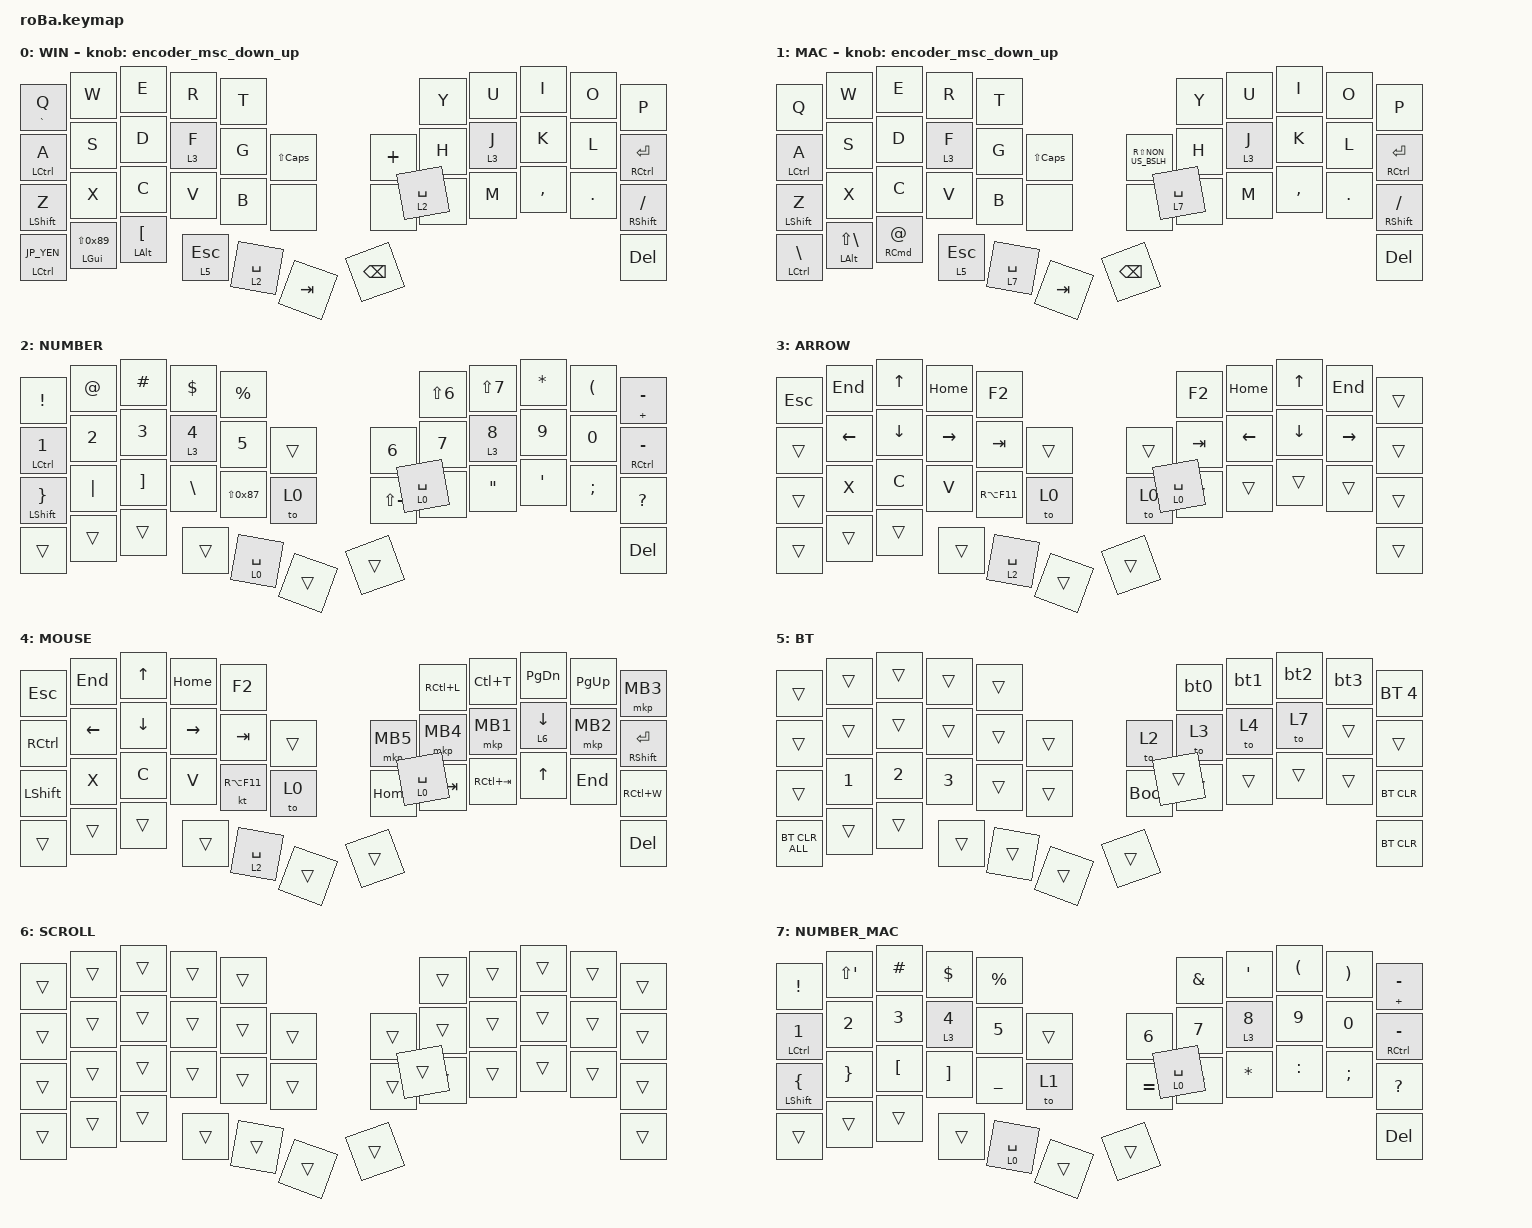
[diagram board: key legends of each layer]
#include <input/processors.dtsi>
#include <dt-bindings/zmk/input_transform.h>
#include <behaviors.dtsi>
#include <dt-bindings/zmk/bt.h>
#include <dt-bindings/zmk/keys.h>
#include <dt-bindings/zmk/pointing.h>

// OS設定を日本語キーボードのまま使用するための変換定義

#define JP_DQUOTE       AT                // "
#define JP_AMPERSAND    CARET             // &
#define JP_QUOTE        AMPERSAND         // '
#define JP_EQUAL        UNDER             // =
#define JP_CARET        EQUAL             // ^
#define JP_YEN          0x89              // ¥
#define JP_PLUS         COLON             // +
#define JP_TILDE        PLUS              // ~
#define JP_PIPE         LS(0x89)          // |
#define JP_AT           LEFT_BRACKET      // @
#define JP_COLON        SINGLE_QUOTE      // :
#define JP_ASTERISK     DOUBLE_QUOTES     // *
#define JP_BACKQUOTE    LEFT_BRACE        // `
#define JP_UNDERSCORE   LS(0x87)          // _
#define JP_LBRACKET     RIGHT_BRACKET     // [
#define JP_RBRACKET     BACKSLASH         // ]
#define JP_LPAREN       ASTERISK          // (
#define JP_RPAREN       LEFT_PARENTHESIS  // )
#define JP_LBRACE       RIGHT_BRACE       // {
#define JP_RBRACE       PIPE              // }
#define JP_KANA         LANGUAGE_1        // かな
#define JP_EISU         LANGUAGE_2        // 英数
#define JP_HANZEN       GRAVE             // 半角/全角

// #includeのあとのあたりにスクロール量変更の定義を追記

#define ZMK_POINTING_DEFAULT_SCRL_VAL 80
#define MOUSE 4

//&trackball {
//    automouse-layer = <4>;
//    scroll-layers = <5>;
// arrows {
//     layers = <3>;
//     bindings =
//         <&kp RIGHT_ARROW>,
//         <&kp LEFT_ARROW>,
//         <&kp UP_ARROW>,
//         <&kp DOWN_ARROW>;
//     tick = <10>;
//     wait-ms = <5>;
//     tap-ms = <5>;
// };
//};

&trackball_listener {
    input-processors = <&zip_temp_layer 4 10000>;

    slow_mouse {
        layers = <3>;
        input-processors = <&zip_xy_scaler 1 3>;
    };

    scroller {
        layers = <6>;
        input-processors = <
                &zip_xy_to_scroll_mapper
                &zip_scroll_scaler 1 20
                &zip_scroll_transform INPUT_TRANSFORM_Y_INVERT
        >;
    };
};

&mkp_input_listener { input-processors = <&zip_temp_layer 4 250>; };

/ {
    combos {
        compatible = "zmk,combos";

        minus {
            bindings = <&kp MINUS>;
            key-positions = <20 19>;
        };

        KANA {
            bindings = <&kp JP_KANA>;
            key-positions = <18 19>;
            layers = <1>;
        };

        EISU {
            bindings = <&kp JP_EISU>;
            key-positions = <13 12>;
            layers = <1>;
        };

        henkan {
            bindings = <&kp INT_HENKAN>;
            key-positions = <18 19>;
            layers = <0 2 3 4>;
        };

        muhenkan {
            bindings = <&kp INT_MUHENKAN>;
            key-positions = <13 12>;
            layers = <0 2 3 4>;
        };
    };

    macros {
        exit_AML: exit_AML {
            compatible = "zmk,behavior-macro";
            wait-ms = <0>;
            tap-ms = <0>;
            #binding-cells = <0>;
            bindings = <&tog_off 4>;
            label = "exit_AML";
        };

        kp_exit_AML: kp_exit_AML {
            compatible = "zmk,behavior-macro-one-param";
            wait-ms = <0>;
            tap-ms = <0>;
            #binding-cells = <1>;
            bindings = <&macro_param_1to1 &kp MACRO_PLACEHOLDER &exit_AML>;
            label = "KP_exit_AML";
        };

        bt0: bt0 {
            compatible = "zmk,behavior-macro";
            #binding-cells = <0>;
            bindings =
                <&tog_off 1>,
                <&macro_wait_time 200>,
                <&bt BT_SEL 0>,
                <&macro_wait_time 500>,
                <&tog_on 1>;

            label = "BT0";
        };

        bt1: bt1 {
            compatible = "zmk,behavior-macro";
            #binding-cells = <0>;
            bindings =
                <&tog_off 1>,
                <&macro_wait_time 200>,
                <&bt BT_SEL 1>,
                <&macro_wait_time 500>,
                <&tog_on 0>;

            label = "BT1";
        };

        bt2: bt2 {
            compatible = "zmk,behavior-macro";
            #binding-cells = <0>;
            bindings =
                <&tog_off 1>,
                <&macro_wait_time 200>,
                <&bt BT_SEL 2>,
                <&macro_wait_time 500>,
                <&tog_on 0>;

            label = "BT2";
        };

        bt3: bt3 {
            compatible = "zmk,behavior-macro";
            #binding-cells = <0>;
            bindings =
                <&tog_off 1>,
                <&macro_wait_time 200>,
                <&bt BT_SEL 3>,
                <&macro_wait_time 500>,
                <&tog_on 0>;

            label = "BT3";
        };
    };

    // combosやmacrosと同じ階層に以下のbihaviorsを追記
    // スクロール方向を逆にしたい場合は <&msc SCRL_DOWN> と <&msc SCRL_UP> を入れ替えてください

    behaviors {
        encoder_msc_down_up: encoder_msc_down_up {
            compatible = "zmk,behavior-sensor-rotate";
            label = "ENCODER_MSC_DOWN_UP";
            #sensor-binding-cells = <0>;
            bindings = <&msc SCRL_DOWN>, <&msc SCRL_UP>;

            tap-ms = <20>;
        };

        mt2: custom_mt {
            compatible = "zmk,behavior-hold-tap";
            #binding-cells = <2>;
            flavor = "tap-preferred"; // または "balanced", "hold-preferred"
            tapping-term-ms = <300>;   // <--- 基本200
            bindings = <&kp>, <&kp>;
        };

        tog_on: toggle_layer_on_only {
            compatible = "zmk,behavior-toggle-layer";
            #binding-cells = <1>;
            display-name = "Toggle Layer On";
            toggle-mode = "on";
        };

        tog_off: toggle_layer_off {
            compatible = "zmk,behavior-toggle-layer";
            #binding-cells = <1>;
            display-name = "Toggle Layer Off";
            toggle-mode = "off";
        };

        mt_exit_AML_on_tap: mt_exit_AML_on_tap {
            compatible = "zmk,behavior-hold-tap";
            label = "MT_exit_AML_ON_TAP";
            bindings = <&kp>, <&kp_exit_AML>;

            #binding-cells = <2>;
            tapping-term-ms = <200>;
            flavor = "balanced";
            quick-tap-ms = <200>;
        };
    };

    keymap {
        compatible = "zmk,keymap";

        WIN {
            bindings = <
&mt2 JP_HANZEN Q                  &kp W                  &kp E                &kp R      &kp T                                             &kp Y        &kp U    &kp I      &kp O    &kp P
&mt2 LCTRL A                      &kp S                  &kp D                &lt 3 F    &kp G        &kp LS(CAPSLOCK)      &kp JP_TILDE   &kp H        &lt 3 J  &kp K      &kp L    &mt2 RCTRL RET
&mt_exit_AML_on_tap LEFT_SHIFT Z  &kp X                  &kp C                &kp V      &kp B        &none                 &none          &kp N        &kp M    &kp COMMA  &kp DOT  &mt2 RIGHT_SHIFT SLASH
&mt2 LCTRL JP_YEN                 &mt2 LEFT_GUI JP_PIPE  &mt2 LEFT_ALT JP_AT  &lt 5 ESC  &lt 2 SPACE  &kp TAB               &kp BACKSPACE  &lt 2 SPACE                               &kp DEL
            >;

            sensor-bindings = <&encoder_msc_down_up>;
        };

        MAC {
            bindings = <
&kp Q                             &kp W                        &kp E                  &kp R      &kp T                                                   &kp Y        &kp U    &kp I      &kp O    &kp P
&mt2 LCTRL A                      &kp S                        &kp D                  &lt 3 F    &kp G        &kp LS(CAPSLOCK)      &kp RS(NON_US_BSLH)  &kp H        &lt 3 J  &kp K      &kp L    &mt2 RCTRL RET
&mt_exit_AML_on_tap LEFT_SHIFT Z  &kp X                        &kp C                  &kp V      &kp B        &none                 &none                &kp N        &kp M    &kp COMMA  &kp DOT  &mt2 RIGHT_SHIFT SLASH
&mt2 LCTRL BACKSLASH              &mt2 LEFT_ALT LS(BACKSLASH)  &mt2 RIGHT_COMMAND AT  &lt 5 ESC  &lt 7 SPACE  &kp TAB               &kp BACKSPACE        &lt 7 SPACE                               &kp DEL
            >;

            sensor-bindings = <&encoder_msc_down_up>;
        };

        NUMBER {
            bindings = <
&kp EXCLAMATION            &kp JP_DQUOTE  &kp HASH         &kp DOLLAR       &kp PERCENT                                   &kp LS(NUMBER_6)  &kp LS(N7)         &kp ASTERISK  &kp LEFT_PARENTHESIS  &mt JP_TILDE MINUS
&mt2 LCTRL NUMBER_1        &kp NUMBER_2   &kp NUMBER_3     &lt 3 NUMBER_4   &kp N5             &trans      &kp NUMBER_6   &kp N7            &lt 3 N8           &kp N9        &kp N0                &mt2 RCTRL MINUS
&mt2 LEFT_SHIFT JP_LBRACE  &kp JP_RBRACE  &kp JP_LBRACKET  &kp JP_RBRACKET  &kp JP_UNDERSCORE  &to 0       &kp LS(MINUS)  &kp COLON         &kp DOUBLE_QUOTES  &kp JP_COLON  &kp SEMICOLON         &kp QUESTION
&trans                     &trans         &trans           &trans           &lt 0 SPACE        &trans      &trans         &lt 0 SPACE                                                              &kp DEL
            >;
        };

        ARROW {
            bindings = <
&kp ESC  &kp END   &kp UP_ARROW  &kp HOME   &kp F2                           &kp F2       &kp HOME        &kp UP_ARROW    &kp END    &trans
&trans   &kp LEFT  &kp DOWN      &kp RIGHT  &kp TAB      &trans      &trans  &kp TAB      &kp LEFT_ARROW  &kp DOWN_ARROW  &kp RIGHT  &trans
&trans   &kp X     &kp C         &kp V      &kp RA(F11)  &to 0       &to 0   &trans       &trans          &trans          &trans     &trans
&trans   &trans    &trans        &trans     &lt 2 SPACE  &trans      &trans  &lt 0 SPACE                                             &trans
            >;
        };

        MOUSE {
            bindings = <
&kp ESC         &kp END   &kp UP_ARROW    &kp HOME   &kp F2                             &kp RC(L)    &kp LC(T)    &kp PAGE_DOWN  &kp PAGE_UP  &mkp MB3
&kp RCTRL       &kp LEFT  &kp DOWN_ARROW  &kp RIGHT  &kp TAB      &trans      &mkp MB5  &mkp MB4     &mkp MB1     &lt 6 DOWN     &mkp MB2     &mt2 RIGHT_SHIFT ENTER
&kp LEFT_SHIFT  &kp X     &kp C           &kp V      &kt RA(F11)  &to 0       &kp HOME  &kp LG(TAB)  &kp RC(TAB)  &kp UP_ARROW   &kp END      &kp RC(W)
&trans          &trans    &trans          &trans     &lt 2 SPACE  &trans      &trans    &lt 0 SPACE                                           &kp DEL
            >;
        };

        BT {
            bindings = <
&trans          &trans        &trans        &trans        &trans                           &bt0    &bt1    &bt2    &bt3    &bt BT_SEL 4
&trans          &trans        &trans        &trans        &trans  &trans      &to 2        &to 3   &to 4   &to 7   &trans  &trans
&trans          &kp NUMBER_1  &kp NUMBER_2  &kp NUMBER_3  &trans  &trans      &bootloader  &trans  &trans  &trans  &trans  &bt BT_CLR
&bt BT_CLR_ALL  &trans        &trans        &trans        &trans  &trans      &trans       &trans                          &bt BT_CLR
            >;
        };

        SCROLL {
            bindings = <
&trans  &trans  &trans  &trans  &trans                      &trans  &trans  &trans  &trans  &trans
&trans  &trans  &trans  &trans  &trans  &trans      &trans  &trans  &trans  &trans  &trans  &trans
&trans  &trans  &trans  &trans  &trans  &trans      &trans  &trans  &trans  &trans  &trans  &trans
&trans  &trans  &trans  &trans  &trans  &trans      &trans  &trans                          &trans
            >;
        };

        NUMBER_MAC {
            bindings = <
&kp EXCLAMATION             &kp LS(SQT)      &kp HASH          &kp DOLLAR         &kp PERCENT                            &kp AMPERSAND  &kp SQT    &kp LEFT_PARENTHESIS  &kp RIGHT_PARENTHESIS  &mt JP_TILDE MINUS
&mt2 LCTRL NUMBER_1         &kp NUMBER_2     &kp NUMBER_3      &lt 3 NUMBER_4     &kp N5       &trans      &kp NUMBER_6  &kp N7         &lt 3 N8   &kp N9                &kp N0                 &mt2 RCTRL MINUS
&mt2 LEFT_SHIFT LEFT_BRACE  &kp RIGHT_BRACE  &kp LEFT_BRACKET  &kp RIGHT_BRACKET  &kp UNDER    &to 1       &kp EQUAL     &kp PLUS       &kp ASTRK  &kp COLON             &kp SEMICOLON          &kp QUESTION
&trans                      &trans           &trans            &trans             &lt 0 SPACE  &trans      &trans        &lt 0 SPACE                                                            &kp DEL
            >;
        };
    };
};
